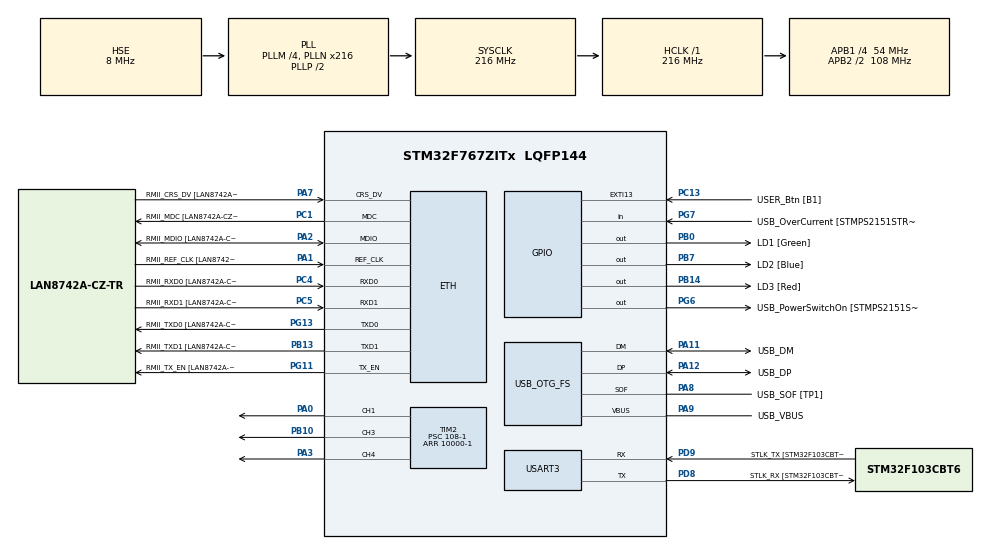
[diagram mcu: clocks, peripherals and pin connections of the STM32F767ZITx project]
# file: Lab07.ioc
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ETH.MediaInterface=HAL_ETH_RMII_MODE
ETH.PHY_Name=LAN8742A_PHY_ADDRESS
ETH.PHY_Value=0
ETH.PhyAddress=0
Mcu.Family=STM32F7
Mcu.Name=STM32F767ZITx
Mcu.Package=LQFP144
NVIC.PriorityGroup=NVIC_PRIORITYGROUP_2
PA0/WKUP.Signal=S_TIM2_CH1_ETR
PA1.GPIO_Label=RMII_REF_CLK [LAN8742A-CZ-TR_REFCLK0]
PA1.Mode=RMII
PA1.Signal=ETH_REF_CLK
PA10.GPIO_Label=USB_ID
PA10.Signal=USB_OTG_FS_ID
PA11.GPIO_Label=USB_DM
PA11.Mode=Device_Only
PA11.Signal=USB_OTG_FS_DM
PA12.GPIO_Label=USB_DP
PA12.Mode=Device_Only
PA12.Signal=USB_OTG_FS_DP
PA13.GPIO_Label=TMS
PA13.Mode=Serial_Wire
PA13.Signal=SYS_JTMS-SWDIO
PA14.GPIO_Label=TCK
PA14.Mode=Serial_Wire
PA14.Signal=SYS_JTCK-SWCLK
PA2.GPIO_Label=RMII_MDIO [LAN8742A-CZ-TR_MDIO]
PA2.Mode=RMII
PA2.Signal=ETH_MDIO
PA3.Signal=S_TIM2_CH4
PA7.GPIO_Label=RMII_CRS_DV [LAN8742A-CZ-TR_CRS_DV]
PA7.Mode=RMII
PA7.Signal=ETH_CRS_DV
PA8.GPIO_Label=USB_SOF [TP1]
PA8.Mode=Activate_SOF_FS
PA8.Signal=USB_OTG_FS_SOF
PA9.GPIO_Label=USB_VBUS
PA9.Mode=Activate_VBUS
PA9.Signal=USB_OTG_FS_VBUS
PB0.GPIO_Label=LD1 [Green]
PB0.Signal=GPIO_Output
PB10.GPIO_Speed=GPIO_SPEED_FREQ_VERY_HIGH
PB10.Signal=S_TIM2_CH3
PB13.GPIO_Label=RMII_TXD1 [LAN8742A-CZ-TR_TXD1]
PB13.Mode=RMII
PB13.Signal=ETH_TXD1
PB14.GPIO_Label=LD3 [Red]
PB14.Signal=GPIO_Output
PB3.GPIO_Label=SWO
PB3.Signal=SYS_JTDO-SWO
PB7.GPIO_Label=LD2 [Blue]
PB7.Signal=GPIO_Output
PC1.GPIO_Label=RMII_MDC [LAN8742A-CZ-TR_MDC]
PC1.Mode=RMII
PC1.Signal=ETH_MDC
PC13.GPIO_Label=USER_Btn [B1]
PC13.Signal=GPXTI13
PC14/OSC32_IN.Mode=LSE-External-Oscillator
PC14/OSC32_IN.Signal=RCC_OSC32_IN
PC15/OSC32_OUT.Mode=LSE-External-Oscillator
PC15/OSC32_OUT.Signal=RCC_OSC32_OUT
PC4.GPIO_Label=RMII_RXD0 [LAN8742A-CZ-TR_RXD0]
PC4.Mode=RMII
PC4.Signal=ETH_RXD0
PC5.GPIO_Label=RMII_RXD1 [LAN8742A-CZ-TR_RXD1]
PC5.Mode=RMII
PC5.Signal=ETH_RXD1
PD8.GPIO_Label=STLK_RX [STM32F103CBT6_PA3]
PD8.Mode=Asynchronous
PD8.Signal=USART3_TX
PD9.GPIO_Label=STLK_TX [STM32F103CBT6_PA2]
PD9.Mode=Asynchronous
PD9.Signal=USART3_RX
PG11.GPIO_Label=RMII_TX_EN [LAN8742A-CZ-TR_TXEN]
PG11.Mode=RMII
PG11.Signal=ETH_TX_EN
PG13.GPIO_Label=RMII_TXD0 [LAN8742A-CZ-TR_TXD0]
PG13.Mode=RMII
PG13.Signal=ETH_TXD0
PG6.GPIO_Label=USB_PowerSwitchOn [STMPS2151STR_EN]
PG6.Signal=GPIO_Output
PG7.GPIO_Label=USB_OverCurrent [STMPS2151STR_FAULT]
PG7.Signal=GPIO_Input
PH0/OSC_IN.GPIO_Label=MCO [STM32F103CBT6_PA8]
PH0/OSC_IN.Mode=HSE-External-Clock-Source
PH0/OSC_IN.Signal=RCC_OSC_IN
PH1/OSC_OUT.Mode=HSE-External-Clock-Source
PH1/OSC_OUT.Signal=RCC_OSC_OUT
ProjectManager.HeapSize=0x200
ProjectManager.StackSize=0x400
ProjectManager.TargetToolchain=STM32CubeIDE
RCC.48MHZClocksFreq_Value=24000000
RCC.AHBFreq_Value=216000000
RCC.APB1CLKDivider=RCC_HCLK_DIV4
RCC.APB1Freq_Value=54000000
RCC.APB1TimFreq_Value=108000000
RCC.APB2CLKDivider=RCC_HCLK_DIV2
RCC.APB2Freq_Value=108000000
RCC.APB2TimFreq_Value=216000000
RCC.CortexFreq_Value=216000000
RCC.HCLKFreq_Value=216000000
RCC.HSE_VALUE=8000000
RCC.HSI_VALUE=16000000
RCC.PLLM=4
RCC.PLLMUL=RCC_PLL_MUL9
RCC.PLLN=216
RCC.PLLQ=9
RCC.PRESCALERUSB=RCC_USBCLKSOURCE_PLL_DIV1_5
RCC.SYSCLKFreq_VALUE=216000000
RCC.SYSCLKSource=RCC_SYSCLKSOURCE_PLLCLK
RCC.SYSCLKSourceVirtual=RCC_SYSCLKSOURCE_PLLCLK
RCC.USBFreq_Value=48000000
RCC.VCOOutputFreq_Value=432000000
SH.S_TIM2_CH1_ETR.0=TIM2_CH1,PWM Generation1 CH1
SH.S_TIM2_CH3.0=TIM2_CH3,PWM Generation3 CH3
SH.S_TIM2_CH4.0=TIM2_CH4,PWM Generation4 CH4
TIM2.Channel-PWM\ Generation1\ CH1=TIM_CHANNEL_1
TIM2.Channel-PWM\ Generation3\ CH3=TIM_CHANNEL_3
TIM2.Channel-PWM\ Generation4\ CH4=TIM_CHANNEL_4
TIM2.Period=10000-1
TIM2.Prescaler=108-1
TIM2.Pulse-PWM\ Generation1\ CH1=10000/4-1
TIM2.Pulse-PWM\ Generation3\ CH3=10000/4-1
TIM2.Pulse-PWM\ Generation4\ CH4=10000/4-1
USART3.VirtualMode-Asynchronous=VM_ASYNC
USB_OTG_FS.VirtualMode=Device_Only
VP_TIM2_VS_ClockSourceINT.Mode=Internal
board=NUCLEO-F767ZI

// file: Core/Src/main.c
/* USER CODE BEGIN Header */
/**
  ******************************************************************************
  * @file           : main.c
  * @brief          : Main program body
  ******************************************************************************
  * @attention
  *
  * Copyright (c) 2022 STMicroelectronics.
  * All rights reserved.
  *
  * This software is licensed under terms that can be found in the LICENSE file
  * in the root directory of this software component.
  * If no LICENSE file comes with this software, it is provided AS-IS.
  *
  ******************************************************************************
  */
/* USER CODE END Header */
#include "main.h"
#include "eth.h"
#include "tim.h"
#include "usart.h"
#include "usb_otg.h"
#include "gpio.h"

/* USER CODE BEGIN PV */
//uint8_t pwm;
uint8_t pwm_r;
uint8_t pwm_g;
uint8_t pwm_b;
//float dutyCycle = 0.75;
float dutyCycle_B = 0;
float dutyCycle_R = 0;
float dutyCycle_G = 0;
char ch1;
/* USER CODE END PV */

void SystemClock_Config(void);

int main(void)
{

  /* MCU Configuration--------------------------------------------------------*/

  /* Reset of all peripherals, Initializes the Flash interface and the Systick. */
  HAL_Init();

  /* Configure the system clock */
  SystemClock_Config();

  /* Initialize all configured peripherals */
  MX_GPIO_Init();
  MX_ETH_Init();
  MX_USART3_UART_Init();
  MX_USB_OTG_FS_PCD_Init();
  MX_TIM2_Init();
  /* USER CODE BEGIN 2 */
//  htim2.Instance -> CCR3 = (10000-1) * dutyCycle_B;
//  HAL_TIM_PWM_Start(&htim2, TIM_CHANNEL_3);
//  htim2.Instance -> CCR1 = (10000-1) * dutyCycle_R;
//  HAL_TIM_PWM_Start(&htim2, TIM_CHANNEL_1);
//  htim2.Instance -> CCR4 = (10000-1) * dutyCycle_G;
//  HAL_TIM_PWM_Start(&htim2, TIM_CHANNEL_4);
  /* USER CODE END 2 */

  /* Infinite loop */
  while (1)
  {

    /* USER CODE BEGIN 3 */
//	  htim2.Instance -> CCR3 = (10000-1) * dutyCycle;
//	  HAL_TIM_PWM_Start(&htim2, TIM_CHANNEL_3);
//	  HAL_Delay(100);
//	  HAL_TIM_PWM_Stop(&htim2, TIM_CHANNEL_3);
//	  pwm = (GPIOB->IDR & GPIO_PIN_10) >>10;

	  while (__HAL_UART_GET_FLAG(&huart3, UART_FLAG_RXNE) == RESET) {
		  pwm_b = ((GPIOB->IDR & GPIO_PIN_10) >>10)+0;
		  pwm_g = ((GPIOA->IDR & GPIO_PIN_3) >>3)+2;
		  pwm_r = ((GPIOA->IDR & GPIO_PIN_0) >>0)+4;
		  HAL_Delay(100);
	  }
	  HAL_UART_Receive(&huart3, (uint8_t*) &ch1, 1, 1000);
	  HAL_UART_Transmit(&huart3, &ch1, 1, 1000);
	  HAL_UART_Transmit(&huart3, "\n\r", 2, 1000);
	  if(ch1=='r'){
		  dutyCycle_R += 0.2;
		  if(dutyCycle_R > 1){
			  dutyCycle_R = 0;
		  }
		  HAL_TIM_PWM_Stop(&htim2, TIM_CHANNEL_1);
		  htim2.Instance -> CCR1 = (10000-1) * dutyCycle_R;
		  HAL_TIM_PWM_Start(&htim2, TIM_CHANNEL_1);
	  }
	  if(ch1=='g'){
	  	  dutyCycle_G += 0.2;
	  	  if(dutyCycle_G > 1){
	  		  dutyCycle_G = 0;
	  	  }
	  	  HAL_TIM_PWM_Stop(&htim2, TIM_CHANNEL_4);
	  	  htim2.Instance -> CCR4 = (10000-1) * dutyCycle_G;
	  	HAL_TIM_PWM_Start(&htim2, TIM_CHANNEL_4);
	  }
	  if(ch1=='b'){
		  dutyCycle_B += 0.2;
		  if(dutyCycle_B > 1){
			  dutyCycle_B = 0;
		  }
		  HAL_TIM_PWM_Stop(&htim2, TIM_CHANNEL_3);
		  htim2.Instance -> CCR3 = (10000-1) * dutyCycle_B;
		  HAL_TIM_PWM_Start(&htim2, TIM_CHANNEL_3);
	  }
  }
  /* USER CODE END 3 */
}

void SystemClock_Config(void)
{
  RCC_OscInitTypeDef RCC_OscInitStruct = {0};
  RCC_ClkInitTypeDef RCC_ClkInitStruct = {0};

  /** Configure LSE Drive Capability
  */
  HAL_PWR_EnableBkUpAccess();

  /** Configure the main internal regulator output voltage
  */
  __HAL_RCC_PWR_CLK_ENABLE();
  __HAL_PWR_VOLTAGESCALING_CONFIG(PWR_REGULATOR_VOLTAGE_SCALE1);

  /** Initializes the RCC Oscillators according to the specified parameters
  * in the RCC_OscInitTypeDef structure.
  */
  RCC_OscInitStruct.OscillatorType = RCC_OSCILLATORTYPE_HSE;
  RCC_OscInitStruct.HSEState = RCC_HSE_BYPASS;
  RCC_OscInitStruct.PLL.PLLState = RCC_PLL_ON;
  RCC_OscInitStruct.PLL.PLLSource = RCC_PLLSOURCE_HSE;
  RCC_OscInitStruct.PLL.PLLM = 4;
  RCC_OscInitStruct.PLL.PLLN = 216;
  RCC_OscInitStruct.PLL.PLLP = RCC_PLLP_DIV2;
  RCC_OscInitStruct.PLL.PLLQ = 9;
  RCC_OscInitStruct.PLL.PLLR = 2;
  if (HAL_RCC_OscConfig(&RCC_OscInitStruct) != HAL_OK)
  {
    Error_Handler();
  }

  /** Activate the Over-Drive mode
  */
  if (HAL_PWREx_EnableOverDrive() != HAL_OK)
  {
    Error_Handler();
  }

  /** Initializes the CPU, AHB and APB buses clocks
  */
  RCC_ClkInitStruct.ClockType = RCC_CLOCKTYPE_HCLK|RCC_CLOCKTYPE_SYSCLK
                              |RCC_CLOCKTYPE_PCLK1|RCC_CLOCKTYPE_PCLK2;
  RCC_ClkInitStruct.SYSCLKSource = RCC_SYSCLKSOURCE_PLLCLK;
  RCC_ClkInitStruct.AHBCLKDivider = RCC_SYSCLK_DIV1;
  RCC_ClkInitStruct.APB1CLKDivider = RCC_HCLK_DIV4;
  RCC_ClkInitStruct.APB2CLKDivider = RCC_HCLK_DIV2;

  if (HAL_RCC_ClockConfig(&RCC_ClkInitStruct, FLASH_LATENCY_7) != HAL_OK)
  {
    Error_Handler();
  }
}

void Error_Handler(void)
{
  __disable_irq();
  while (1)
  {
  }
}
